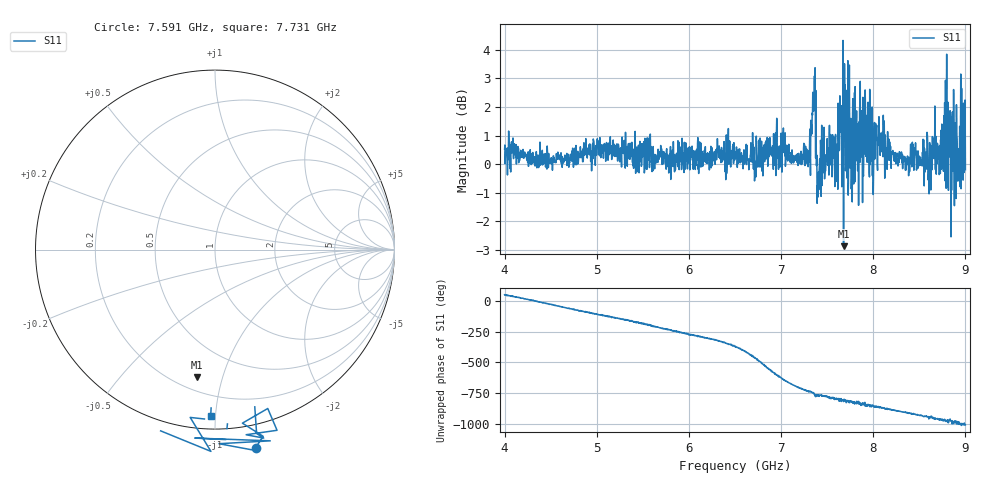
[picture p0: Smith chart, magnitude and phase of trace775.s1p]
! Created with skrf 1.8.0 (http://scikit-rf.org).
# Hz S RI R 50.0
!freq ReS11 ImS11
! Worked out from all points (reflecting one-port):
!   1601 points, 4 GHz to 9 GHz, reference 50 ohm
!   lowest |S11| = -2.9 dB at 7.678 GHz (marker M1), VSWR 6.11, Z = 14.1 - j41.3 ohm
!   phase of S11 starts at 49 deg and turns -1056 deg over the sweep
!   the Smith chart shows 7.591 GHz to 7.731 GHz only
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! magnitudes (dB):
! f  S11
! 4 GHz  0.5
! 4.625 GHz  -0.1
! 5.25 GHz  0.1
! 5.875 GHz  0.3
! 6.5 GHz  0.3
! 6.725 GHz  0.0
! 7.019 GHz  0.4
! 7.125 GHz  0.2
! 7.294 GHz  -0.1
! 7.347 GHz  1.9
! 7.362 GHz  3.1
! 7.409 GHz  -0.9
! 7.547 GHz  -0.1
! 7.591 GHz  1.0
! 7.647 GHz  1.1
! 7.678 GHz  -2.9
! 7.75 GHz  -0.1
! 7.775 GHz  1.4
! 7.8 GHz  -0.6
! 7.928 GHz  1.3
! 7.981 GHz  0.1
! 8.097 GHz  0.7
! 8.375 GHz  0.0
! 8.616 GHz  0.4
! 8.788 GHz  -0.7
! 8.903 GHz  2.1
! 8.972 GHz  0.3
! 9 GHz  -0.2
